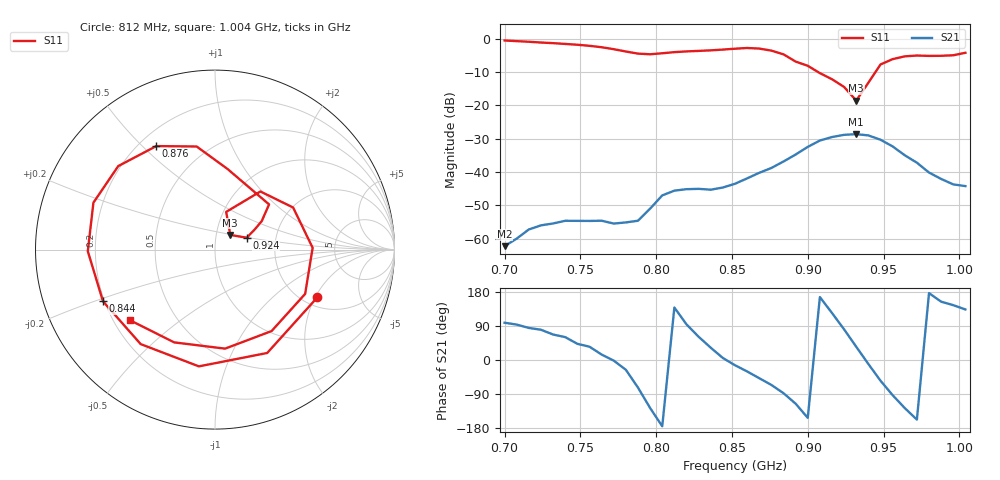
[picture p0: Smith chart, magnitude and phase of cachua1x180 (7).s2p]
# Hz S RI R 50
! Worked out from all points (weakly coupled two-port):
!   39 points, 700 MHz to 1.004 GHz, reference 50 ohm
!   highest |S21| = -28.64 dB at 932 MHz (marker M1); lowest = -62.3 dB at 700 MHz (marker M2)
!   lowest |S11| = -18.6 dB at 932 MHz (marker M3), VSWR 1.27, Z = 58.5 + j9.68 ohm
!   |S11| at or under -10 dB: 906.8 MHz to 944.7 MHz (37.83 MHz wide, 4.09 % of centre)
!   S12 and S22 are empty: the file has one direction only
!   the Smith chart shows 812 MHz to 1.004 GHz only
!   S11 on the Smith chart (normalised r, x): 812 MHz: 2.36, -2.08; 844 MHz: 0.19, -0.21; 876 MHz: 0.27, +0.55; 924 MHz: 1.41, +0.19; 1.004 GHz: 0.27, -0.34
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7e8  0.7613 0.5554  -0.000112 0.000763  0 0  0 0
7.24e8  0.8412 -0.2479  0.000279 0.00156  0 0  0 0
7.4e8  0.4556 -0.7002  0.000917 0.00161  0 0  0 0
7.56e8  -0.1902 -0.7594  0.00151 0.00106  0 0  0 0
7.72e8  -0.6657 -0.2067  0.00168 -4.76e-05  0 0  0 0
7.8e8  -0.6037 0.2209  0.00158 -0.000763  0 0  0 0
7.88e8  -0.2637 0.5369  0.000547 -0.00177  0 0  0 0
7.96e8  0.2307 0.5373  -0.00168 -0.00226  0 0  0 0
8.04e8  0.5732 0.1947  -0.00444 -0.000395  0 0  0 0
8.12e8  0.5703 -0.2662  -0.00393 0.00348  0 0  0 0
8.28e8  -0.0897 -0.6506  0.00268 0.0049  0 0  0 0
8.44e8  -0.6241 -0.2881  0.00583 0.00054  0 0  0 0
8.52e8  -0.7086 -0.009  0.00646 -0.00159  0 0  0 0
8.76e8  -0.327 0.5767  0.00472 -0.0105  0 0  0 0
9e8  0.3012 0.2518  -0.0212 -0.0109  0 0  0 0
9.08e8  0.2604 0.1585  -0.0288 0.00714  0 0  0 0
9.24e8  0.1768 0.0663  0.0058 0.0357  0 0  0 0
9.32e8  0.0852 0.0816  0.0304 0.0211  0 0  0 0
9.56e8  0.4352 0.2345  -0.00121 -0.0242  0 0  0 0
9.64e8  0.544 0.0101  -0.0107 -0.0143  0 0  0 0
9.8e8  0.3152 -0.4539  -0.0098 0.000594  0 0  0 0
1.004e9  -0.4725 -0.3942  -0.00422 0.00447  0 0  0 0
